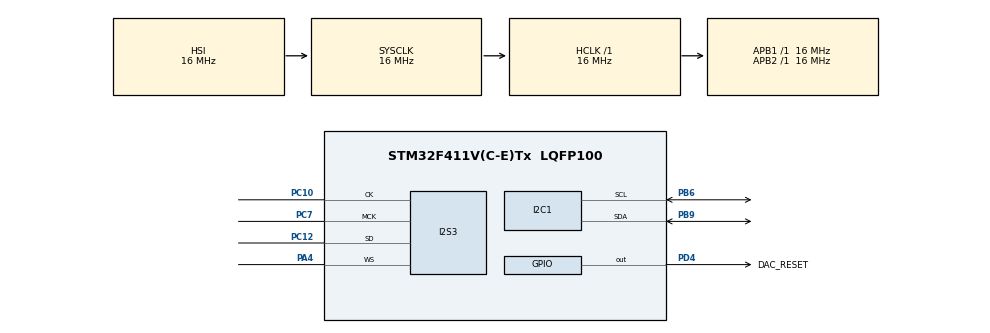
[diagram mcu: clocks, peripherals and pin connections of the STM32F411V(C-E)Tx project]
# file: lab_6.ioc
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Dma.Request0=SPI3_TX
Dma.SPI3_TX.0.Direction=DMA_MEMORY_TO_PERIPH
Dma.SPI3_TX.0.FIFOMode=DMA_FIFOMODE_ENABLE
Dma.SPI3_TX.0.FIFOThreshold=DMA_FIFO_THRESHOLD_FULL
Dma.SPI3_TX.0.Instance=DMA1_Stream5
Dma.SPI3_TX.0.MemBurst=DMA_MBURST_SINGLE
Dma.SPI3_TX.0.MemDataAlignment=DMA_MDATAALIGN_HALFWORD
Dma.SPI3_TX.0.MemInc=DMA_MINC_ENABLE
Dma.SPI3_TX.0.Mode=DMA_CIRCULAR
Dma.SPI3_TX.0.PeriphBurst=DMA_PBURST_SINGLE
Dma.SPI3_TX.0.PeriphDataAlignment=DMA_PDATAALIGN_HALFWORD
Dma.SPI3_TX.0.PeriphInc=DMA_PINC_DISABLE
Dma.SPI3_TX.0.Priority=DMA_PRIORITY_LOW
I2S3.AudioFreq=I2S_AUDIOFREQ_48K
I2S3.ErrorAudioFreq=-2.34 %
I2S3.FullDuplexMode=I2S_FULLDUPLEXMODE_DISABLE
I2S3.Instance=SPI$Index
I2S3.RealAudioFreq=46.875 KHz
I2S3.VirtualMode=I2S_MODE_MASTER
Mcu.Family=STM32F4
Mcu.Name=STM32F411V(C-E)Tx
Mcu.Package=LQFP100
NVIC.DMA1_Stream5_IRQn=true\:0\:0\:false\:false\:true\:false\:true\:true
NVIC.PriorityGroup=NVIC_PRIORITYGROUP_4
PA4.Mode=Half_Duplex_Master
PA4.Signal=I2S3_WS
PB6.Mode=I2C
PB6.Signal=I2C1_SCL
PB9.Mode=I2C
PB9.Signal=I2C1_SDA
PC10.Mode=Half_Duplex_Master
PC10.Signal=I2S3_CK
PC12.Mode=Half_Duplex_Master
PC12.Signal=I2S3_SD
PC7.Mode=Master_Clock_Activated
PC7.Signal=I2S3_MCK
PD4.GPIO_Label=DAC_RESET
PD4.Signal=GPIO_Output
ProjectManager.HeapSize=0x200
ProjectManager.StackSize=0x400
ProjectManager.TargetToolchain=STM32CubeIDE
RCC.AHBFreq_Value=16000000
RCC.APB1Freq_Value=16000000
RCC.APB2Freq_Value=16000000
RCC.CortexFreq_Value=16000000
RCC.HSE_VALUE=25000000
RCC.HSI_VALUE=16000000
RCC.LSE_VALUE=32768
RCC.SYSCLKFreq_VALUE=16000000
RCC.VCOOutputFreq_Value=192000000
board=custom

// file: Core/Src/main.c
/* USER CODE BEGIN Header */
/**
  ******************************************************************************
  * @file           : main.c
  * @brief          : Main program body
  ******************************************************************************
  * @attention
  *
  * Copyright (c) 2025 STMicroelectronics.
  * All rights reserved.
  *
  * This software is licensed under terms that can be found in the LICENSE file
  * in the root directory of this software component.
  * If no LICENSE file comes with this software, it is provided AS-IS.
  *
  ******************************************************************************
  */
/* USER CODE END Header */
#include "main.h"
#include "stm32f4xx_hal.h"
#include "stm32f4xx_hal_i2s.h"

/* USER CODE BEGIN PTD */
typedef enum {
  PITCH_C4,
  PITCH_C5,
  PITCH_D5,
  PITCH_E5,
  PITCH_F5,
  PITCH_G5,
  PITCH_A5,
  PITCH_B5,
  PITCH_C6,
  PITCH_D6,
  PITCH_E6,
  PITCH_F6,
  PITCH_G6,
  PITCH_A6,
  PITCH_B6,
  PITCH_C7,
  PITCH_MAX,
} Pitch;

/* USER CODE END PTD */

/* USER CODE BEGIN PD */
#define CS43L22_I2C_ADDR  0b10010100
#define I2C_TIMEOUT       10
#define I2S_BUFF_LEN      128

/* USER CODE END PD */

I2C_HandleTypeDef hi2c1;

I2S_HandleTypeDef hi2s3;
DMA_HandleTypeDef hdma_spi3_tx;

/* USER CODE BEGIN PV */
int16_t i2s_buff[I2S_BUFF_LEN] = {0};

/* USER CODE END PV */

void SystemClock_Config(void);
static void MX_GPIO_Init(void);
static void MX_DMA_Init(void);
static void MX_I2C1_Init(void);
static void MX_I2S3_Init(void);

/* USER CODE BEGIN 0 */
void CS43L22_Init(void) {
  // Start DAC
  HAL_GPIO_WritePin(DAC_RESET_GPIO_Port, DAC_RESET_Pin, GPIO_PIN_SET);

  // Init DAC
  uint8_t tx_buff[2];

  tx_buff[0] = 0x0D;
  tx_buff[1] = 0x01;
  HAL_I2C_Master_Transmit(&hi2c1, CS43L22_I2C_ADDR, (uint8_t *)&tx_buff, 2, I2C_TIMEOUT);

  tx_buff[0] = 0x00;
  tx_buff[1] = 0x99;
  HAL_I2C_Master_Transmit(&hi2c1, CS43L22_I2C_ADDR, (uint8_t *)&tx_buff, 2, I2C_TIMEOUT);

  tx_buff[0] = 0x47;
  tx_buff[1] = 0x80;
  HAL_I2C_Master_Transmit(&hi2c1, CS43L22_I2C_ADDR, (uint8_t *)&tx_buff, 2, I2C_TIMEOUT);

  tx_buff[0] = 0x32;
  tx_buff[1] = 0xFF;
  HAL_I2C_Master_Transmit(&hi2c1, CS43L22_I2C_ADDR, (uint8_t *)&tx_buff, 2, I2C_TIMEOUT);

  tx_buff[0] = 0x32;
  tx_buff[1] = 0x7F;
  HAL_I2C_Master_Transmit(&hi2c1, CS43L22_I2C_ADDR, (uint8_t *)&tx_buff, 2, I2C_TIMEOUT);

  tx_buff[0] = 0x00;
  tx_buff[1] = 0x00;
  HAL_I2C_Master_Transmit(&hi2c1, CS43L22_I2C_ADDR, (uint8_t *)&tx_buff, 2, I2C_TIMEOUT);

  tx_buff[0] = 0x04;
  tx_buff[1] = 0xAF;
  HAL_I2C_Master_Transmit(&hi2c1, CS43L22_I2C_ADDR, (uint8_t *)&tx_buff, 2, I2C_TIMEOUT);

  tx_buff[0] = 0x0D;
  tx_buff[1] = 0x70;
  HAL_I2C_Master_Transmit(&hi2c1, CS43L22_I2C_ADDR, (uint8_t *)&tx_buff, 2, I2C_TIMEOUT);

  tx_buff[0] = 0x05;
  tx_buff[1] = 0x81;
  HAL_I2C_Master_Transmit(&hi2c1, CS43L22_I2C_ADDR, (uint8_t *)&tx_buff, 2, I2C_TIMEOUT);

  tx_buff[0] = 0x06;
  tx_buff[1] = 0x07;
  HAL_I2C_Master_Transmit(&hi2c1, CS43L22_I2C_ADDR, (uint8_t *)&tx_buff, 2, I2C_TIMEOUT);

  tx_buff[0] = 0x0A;
  tx_buff[1] = 0x00;
  HAL_I2C_Master_Transmit(&hi2c1, CS43L22_I2C_ADDR, (uint8_t *)&tx_buff, 2, I2C_TIMEOUT);

  tx_buff[0] = 0x27;
  tx_buff[1] = 0x00;
  HAL_I2C_Master_Transmit(&hi2c1, CS43L22_I2C_ADDR, (uint8_t *)&tx_buff, 2, I2C_TIMEOUT);

  tx_buff[0] = 0x1A;
  tx_buff[1] = 0x0A;
  HAL_I2C_Master_Transmit(&hi2c1, CS43L22_I2C_ADDR, (uint8_t *)&tx_buff, 2, I2C_TIMEOUT);

  tx_buff[0] = 0x1B;
  tx_buff[1] = 0x0A;
  HAL_I2C_Master_Transmit(&hi2c1, CS43L22_I2C_ADDR, (uint8_t *)&tx_buff, 2, I2C_TIMEOUT);

  tx_buff[0] = 0x1F;
  tx_buff[1] = 0x0F;
  HAL_I2C_Master_Transmit(&hi2c1, CS43L22_I2C_ADDR, (uint8_t *)&tx_buff, 2, I2C_TIMEOUT);

  tx_buff[0] = 0x02;
  tx_buff[1] = 0x9E;
  HAL_I2C_Master_Transmit(&hi2c1, CS43L22_I2C_ADDR, (uint8_t *)&tx_buff, 2, I2C_TIMEOUT);
}

void CS43L22_Beep(Pitch pitch, uint32_t duration_ms) {
  uint8_t tx_buff[2];

  // Set volume and off time
  tx_buff[0] = 0x1D;            // Address
  uint8_t volume = 0b11110;     // -10 dB
  tx_buff[1] = (0x00 | volume); // Value (volume and off time)
  HAL_I2C_Master_Transmit(&hi2c1, CS43L22_I2C_ADDR, (uint8_t *)&tx_buff, 2, I2C_TIMEOUT);

  // Set frequency and on time
  tx_buff[0] = 0x1C;        // Address
  tx_buff[1] = pitch << 4;  // Value (frequency and on time)
  HAL_I2C_Master_Transmit(&hi2c1, CS43L22_I2C_ADDR, (uint8_t *)&tx_buff, 2, I2C_TIMEOUT);

  // Enable continuous mode (beeping started)
  tx_buff[0] = 0x1E; // Address
  tx_buff[1] = 0xC0; // Value (beep and tone configuration)
  HAL_I2C_Master_Transmit(&hi2c1, CS43L22_I2C_ADDR, (uint8_t *)&tx_buff, 2, I2C_TIMEOUT);

  // Beeping
  HAL_Delay(duration_ms);

  // Disable continuous mode (beeping stopped)
  tx_buff[0] = 0x1E; // Address
  tx_buff[1] = 0x00; // Value (beep and tone configuration)
  HAL_I2C_Master_Transmit(&hi2c1, CS43L22_I2C_ADDR, (uint8_t *)&tx_buff, 2, I2C_TIMEOUT);
}

void CS43L22_PlayMelody() {
  const Pitch pitches[] = {
    PITCH_G5, PITCH_D6, PITCH_C6, PITCH_G5, PITCH_B5, PITCH_B5, PITCH_C6,
    PITCH_G5, PITCH_C6, PITCH_G5, PITCH_B5, PITCH_B5, PITCH_C6,
    PITCH_G5, PITCH_D6, PITCH_C6, PITCH_G5, PITCH_B5, PITCH_B5, PITCH_C6,
    PITCH_G5, PITCH_C6, PITCH_E6, PITCH_D6, PITCH_C6, PITCH_D6
  };

  const uint32_t durations[] = {
    500, 500, 500, 500, 750, 750, 1000,
    500, 500, 500, 750, 750, 500,
    500, 500, 500, 500, 750, 750, 1000,
    500, 500, 500, 750, 750, 500
  };

  float tempo = 2.0f;

  for (int i = 0; i < sizeof(pitches) / sizeof(pitches[0]); i++) {
    CS43L22_Beep(pitches[i], (uint32_t)(durations[i] / tempo));
    HAL_Delay(80);
  };
}

/* USER CODE END 0 */

int main(void)
{

  /* MCU Configuration--------------------------------------------------------*/

  /* Reset of all peripherals, Initializes the Flash interface and the Systick. */
  HAL_Init();

  /* Configure the system clock */
  SystemClock_Config();

  /* Initialize all configured peripherals */
  MX_GPIO_Init();
  MX_DMA_Init();
  MX_I2C1_Init();
  MX_I2S3_Init();
  /* USER CODE BEGIN 2 */
  // Init DAC
  CS43L22_Init();

  // Transmit silence
  HAL_I2S_Transmit_DMA(&hi2s3, (uint16_t *)i2s_buff, I2S_BUFF_LEN);

  uint8_t has_played = 0;
  /* USER CODE END 2 */

  /* Infinite loop */
  /* USER CODE BEGIN WHILE */
  while (1)
  {
    if (!has_played) {
      CS43L22_PlayMelody();
      has_played = 1;
    }
    /* USER CODE END WHILE */

  }
}

void SystemClock_Config(void)
{
  RCC_OscInitTypeDef RCC_OscInitStruct = {0};
  RCC_ClkInitTypeDef RCC_ClkInitStruct = {0};

  /** Macro to configure the PLL multiplication factor
  */
  __HAL_RCC_PLL_PLLM_CONFIG(16);

  /** Macro to configure the PLL clock source
  */
  __HAL_RCC_PLL_PLLSOURCE_CONFIG(RCC_PLLSOURCE_HSI);

  /** Configure the main internal regulator output voltage
  */
  __HAL_RCC_PWR_CLK_ENABLE();
  __HAL_PWR_VOLTAGESCALING_CONFIG(PWR_REGULATOR_VOLTAGE_SCALE1);

  /** Initializes the RCC Oscillators according to the specified parameters
  * in the RCC_OscInitTypeDef structure.
  */
  RCC_OscInitStruct.OscillatorType = RCC_OSCILLATORTYPE_HSI;
  RCC_OscInitStruct.HSIState = RCC_HSI_ON;
  RCC_OscInitStruct.HSICalibrationValue = RCC_HSICALIBRATION_DEFAULT;
  RCC_OscInitStruct.PLL.PLLState = RCC_PLL_NONE;
  RCC_OscInitStruct.PLL.PLLSource = RCC_PLLSOURCE_HSI;
  if (HAL_RCC_OscConfig(&RCC_OscInitStruct) != HAL_OK)
  {
    Error_Handler();
  }

  /** Initializes the CPU, AHB and APB buses clocks
  */
  RCC_ClkInitStruct.ClockType = RCC_CLOCKTYPE_HCLK|RCC_CLOCKTYPE_SYSCLK
                              |RCC_CLOCKTYPE_PCLK1|RCC_CLOCKTYPE_PCLK2;
  RCC_ClkInitStruct.SYSCLKSource = RCC_SYSCLKSOURCE_HSI;
  RCC_ClkInitStruct.AHBCLKDivider = RCC_SYSCLK_DIV1;
  RCC_ClkInitStruct.APB1CLKDivider = RCC_HCLK_DIV1;
  RCC_ClkInitStruct.APB2CLKDivider = RCC_HCLK_DIV1;

  if (HAL_RCC_ClockConfig(&RCC_ClkInitStruct, FLASH_LATENCY_0) != HAL_OK)
  {
    Error_Handler();
  }
}

static void MX_I2C1_Init(void)
{

  hi2c1.Instance = I2C1;
  hi2c1.Init.ClockSpeed = 100000;
  hi2c1.Init.DutyCycle = I2C_DUTYCYCLE_2;
  hi2c1.Init.OwnAddress1 = 0;
  hi2c1.Init.AddressingMode = I2C_ADDRESSINGMODE_7BIT;
  hi2c1.Init.DualAddressMode = I2C_DUALADDRESS_DISABLE;
  hi2c1.Init.OwnAddress2 = 0;
  hi2c1.Init.GeneralCallMode = I2C_GENERALCALL_DISABLE;
  hi2c1.Init.NoStretchMode = I2C_NOSTRETCH_DISABLE;
  if (HAL_I2C_Init(&hi2c1) != HAL_OK)
  {
    Error_Handler();
  }

}

static void MX_I2S3_Init(void)
{

  hi2s3.Instance = SPI3;
  hi2s3.Init.Mode = I2S_MODE_MASTER_TX;
  hi2s3.Init.Standard = I2S_STANDARD_PHILIPS;
  hi2s3.Init.DataFormat = I2S_DATAFORMAT_16B;
  hi2s3.Init.MCLKOutput = I2S_MCLKOUTPUT_ENABLE;
  hi2s3.Init.AudioFreq = I2S_AUDIOFREQ_48K;
  hi2s3.Init.CPOL = I2S_CPOL_LOW;
  hi2s3.Init.ClockSource = I2S_CLOCK_PLL;
  hi2s3.Init.FullDuplexMode = I2S_FULLDUPLEXMODE_DISABLE;
  if (HAL_I2S_Init(&hi2s3) != HAL_OK)
  {
    Error_Handler();
  }

}

static void MX_DMA_Init(void)
{

  /* DMA controller clock enable */
  __HAL_RCC_DMA1_CLK_ENABLE();

  /* DMA interrupt init */
  /* DMA1_Stream5_IRQn interrupt configuration */
  HAL_NVIC_SetPriority(DMA1_Stream5_IRQn, 0, 0);
  HAL_NVIC_EnableIRQ(DMA1_Stream5_IRQn);

}

static void MX_GPIO_Init(void)
{
  GPIO_InitTypeDef GPIO_InitStruct = {0};

  /* GPIO Ports Clock Enable */
  __HAL_RCC_GPIOA_CLK_ENABLE();
  __HAL_RCC_GPIOC_CLK_ENABLE();
  __HAL_RCC_GPIOD_CLK_ENABLE();
  __HAL_RCC_GPIOB_CLK_ENABLE();

  /*Configure GPIO pin Output Level */
  HAL_GPIO_WritePin(DAC_RESET_GPIO_Port, DAC_RESET_Pin, GPIO_PIN_RESET);

  /*Configure GPIO pin : DAC_RESET_Pin */
  GPIO_InitStruct.Pin = DAC_RESET_Pin;
  GPIO_InitStruct.Mode = GPIO_MODE_OUTPUT_PP;
  GPIO_InitStruct.Pull = GPIO_NOPULL;
  GPIO_InitStruct.Speed = GPIO_SPEED_FREQ_LOW;
  HAL_GPIO_Init(DAC_RESET_GPIO_Port, &GPIO_InitStruct);

}

void Error_Handler(void)
{
  __disable_irq();
  while (1)
  {
  }
}
